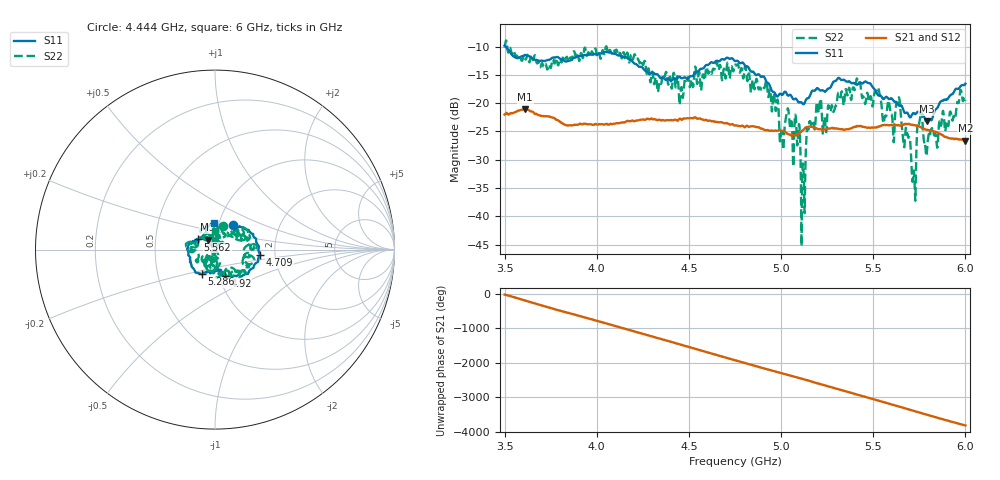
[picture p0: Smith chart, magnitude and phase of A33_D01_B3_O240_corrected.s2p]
! Created with skrf 1.9.0 (http://scikit-rf.org).
# Hz S RI R 50.0
!freq ReS11 ImS11 ReS21 ImS21 ReS12 ImS12 ReS22 ImS22
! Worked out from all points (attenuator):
!   1601 points, 3.5 GHz to 6 GHz, reference 50 ohm
!   highest |S21| = -21.13 dB at 3.611 GHz (marker M1); lowest = -26.6 dB at 6 GHz (marker M2)
!   lowest |S11| = -23.2 dB at 5.791 GHz (marker M3), VSWR 1.15, Z = 45.9 + j5.16 ohm
!   |S11| at or under -10 dB: 3.505 GHz to end of sweep
!   |S22| runs from -45.3 to -8.9 dB; largest |S21 - S12| = 0.0012
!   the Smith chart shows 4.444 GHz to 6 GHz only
!   S11 on the Smith chart (normalised r, x): 4.444 GHz: 1.17, +0.33; 4.709 GHz: 1.66, -0.10; 4.92 GHz: 1.07, -0.32; 5.286 GHz: 0.84, -0.24; 5.562 GHz: 0.82, +0.09; 6 GHz: 0.94, +0.29
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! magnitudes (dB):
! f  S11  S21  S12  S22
! 3.5 GHz  -9.8  -22.0  -22.0  -10.2
! 3.611 GHz  -11.5  -21.1  -21.2  -12.1
! 3.917 GHz  -11.7  -23.7  -23.7  -11.2
! 4.334 GHz  -15.1  -23.0  -22.9  -17.5
! 4.444 GHz  -15.4  -23.0  -23.0  -17.3
! 4.709 GHz  -12.0  -23.6  -23.5  -12.9
! 4.75 GHz  -12.6  -24.0  -23.9  -13.2
! 4.92 GHz  -16.2  -24.8  -24.8  -16.1
! 5.003 GHz  -18.5  -24.9  -24.9  -25.1
! 5.088 GHz  -19.5  -25.6  -25.6  -27.5
! 5.119 GHz  -20.1  -24.8  -24.8  -30.7
! 5.147 GHz  -19.1  -24.2  -24.2  -24.6
! 5.167 GHz  -17.9  -24.2  -24.2  -24.1
! 5.286 GHz  -16.2  -24.5  -24.4  -21.4
! 5.419 GHz  -16.6  -24.1  -24.1  -16.0
! 5.562 GHz  -19.1  -23.9  -23.9  -22.4
! 5.584 GHz  -19.3  -23.9  -23.9  -19.6
! 5.638 GHz  -20.4  -23.9  -23.9  -19.1
! 5.719 GHz  -21.8  -23.9  -23.9  -32.3
! 5.752 GHz  -21.7  -24.2  -24.1  -23.1
! 5.791 GHz  -23.2  -24.7  -24.7  -28.8
! 6 GHz  -16.6  -26.6  -26.6  -19.6
